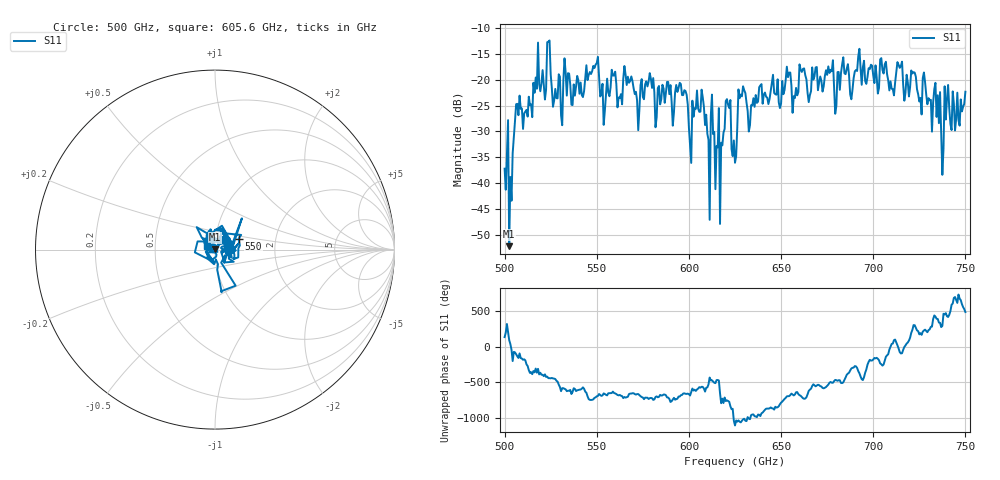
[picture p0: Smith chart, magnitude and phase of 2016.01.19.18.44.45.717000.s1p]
!Created with skrf (http://scikit-rf.org).
# GHz S RI R 50.0
!freq ReS11 ImS11
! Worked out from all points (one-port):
!   401 points, 500 GHz to 750 GHz, reference 50 ohm
!   lowest |S11| = -52.2 dB at 502.5 GHz (marker M1), VSWR 1.00, Z = 50 + j0.245 ohm
!   |S11| at or under -10 dB: start of sweep to end of sweep
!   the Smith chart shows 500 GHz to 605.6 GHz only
!   S11 on the Smith chart (normalised r, x): 500 GHz: 0.98, +0.02; 550 GHz: 1.29, +0.16; 605.6 GHz: 0.92, +0.04
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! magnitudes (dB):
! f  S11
! 500 GHz  -37.2
! 502.5 GHz  -52.2
! 507.5 GHz  -26.8
! 523.8 GHz  -12.6
! 526.9 GHz  -24.0
! 531.2 GHz  -28.8
! 550 GHz  -16.8
! 553.1 GHz  -20.8
! 559.4 GHz  -19.2
! 562.5 GHz  -23.5
! 565.6 GHz  -18.9
! 571.9 GHz  -24.0
! 593.8 GHz  -22.3
! 601.2 GHz  -36.1
! 605.6 GHz  -26.2
! 615.6 GHz  -33.1
! 621.2 GHz  -24.8
! 625 GHz  -36.0
! 628.1 GHz  -22.8
! 633.1 GHz  -28.8
! 656.2 GHz  -26.4
! 661.2 GHz  -18.5
! 687.5 GHz  -22.8
! 718.8 GHz  -20.5
! 733.8 GHz  -20.6
! 736.9 GHz  -30.8
! 740 GHz  -23.6
! 750 GHz  -22.3
